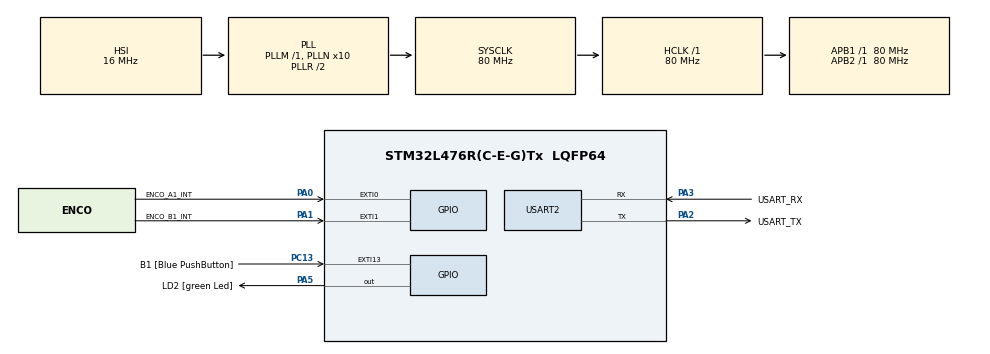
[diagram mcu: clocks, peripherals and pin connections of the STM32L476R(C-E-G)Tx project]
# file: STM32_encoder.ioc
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Mcu.Family=STM32L4
Mcu.Name=STM32L476R(C-E-G)Tx
Mcu.Package=LQFP64
NVIC.EXTI0_IRQn=true\:0\:0\:false\:false\:true\:true\:true\:true
NVIC.EXTI1_IRQn=true\:1\:0\:true\:false\:true\:true\:true\:true
NVIC.PriorityGroup=NVIC_PRIORITYGROUP_4
PA0.GPIO_Label=ENCO_A1_INT
PA0.GPIO_ModeDefaultEXTI=GPIO_MODE_IT_RISING_FALLING
PA0.Signal=GPXTI0
PA1.GPIO_Label=ENCO_B1_INT
PA1.GPIO_ModeDefaultEXTI=GPIO_MODE_IT_RISING_FALLING
PA1.Signal=GPXTI1
PA13\ (JTMS-SWDIO).GPIO_Label=TMS
PA13\ (JTMS-SWDIO).Mode=Serial_Wire
PA13\ (JTMS-SWDIO).Signal=SYS_JTMS-SWDIO
PA14\ (JTCK-SWCLK).GPIO_Label=TCK
PA14\ (JTCK-SWCLK).Mode=Serial_Wire
PA14\ (JTCK-SWCLK).Signal=SYS_JTCK-SWCLK
PA2.GPIO_Label=USART_TX
PA2.GPIO_Mode=GPIO_MODE_AF_PP
PA2.GPIO_PuPd=GPIO_NOPULL
PA2.GPIO_Speed=GPIO_SPEED_FREQ_VERY_HIGH
PA2.Mode=Asynchronous
PA2.Signal=USART2_TX
PA3.GPIO_Label=USART_RX
PA3.GPIO_Mode=GPIO_MODE_AF_PP
PA3.GPIO_PuPd=GPIO_NOPULL
PA3.GPIO_Speed=GPIO_SPEED_FREQ_VERY_HIGH
PA3.Mode=Asynchronous
PA3.Signal=USART2_RX
PA5.GPIO_Label=LD2 [green Led]
PA5.GPIO_ModeDefaultOutputPP=GPIO_MODE_OUTPUT_PP
PA5.GPIO_PuPd=GPIO_NOPULL
PA5.GPIO_Speed=GPIO_SPEED_FREQ_LOW
PA5.Signal=GPIO_Output
PB3\ (JTDO-TRACESWO).GPIO_Label=SWO
PB3\ (JTDO-TRACESWO).Signal=SYS_JTDO-SWO
PC13.GPIO_Label=B1 [Blue PushButton]
PC13.GPIO_ModeDefaultEXTI=GPIO_MODE_IT_FALLING
PC13.GPIO_PuPd=GPIO_NOPULL
PC13.Signal=GPXTI13
PC14-OSC32_IN\ (PC14).Mode=LSE-External-Oscillator
PC14-OSC32_IN\ (PC14).Signal=RCC_OSC32_IN
PC15-OSC32_OUT\ (PC15).Mode=LSE-External-Oscillator
PC15-OSC32_OUT\ (PC15).Signal=RCC_OSC32_OUT
PH0-OSC_IN\ (PH0).Signal=RCC_OSC_IN
PH1-OSC_OUT\ (PH1).Signal=RCC_OSC_OUT
ProjectManager.HeapSize=0x200
ProjectManager.StackSize=0x400
ProjectManager.TargetToolchain=STM32CubeIDE
RCC.ADCFreq_Value=64000000
RCC.AHBFreq_Value=80000000
RCC.APB1Freq_Value=80000000
RCC.APB1TimFreq_Value=80000000
RCC.APB2Freq_Value=80000000
RCC.APB2TimFreq_Value=80000000
RCC.CortexFreq_Value=80000000
RCC.HCLKFreq_Value=80000000
RCC.HSE_VALUE=8000000
RCC.HSI_VALUE=16000000
RCC.MSI_VALUE=4000000
RCC.PLLN=10
RCC.PLLSourceVirtual=RCC_PLLSOURCE_HSI
RCC.PREFETCH_ENABLE=1
RCC.SYSCLKFreq_VALUE=80000000
RCC.SYSCLKSource=RCC_SYSCLKSOURCE_PLLCLK
RCC.USBFreq_Value=64000000
RCC.VCOOutputFreq_Value=160000000
USART2.VirtualMode-Asynchronous=VM_ASYNC
board=NUCLEO-L476RG

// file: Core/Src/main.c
/* USER CODE BEGIN Header */
/**
  ******************************************************************************
  * @file           : main.c
  * @brief          : Main program body
  ******************************************************************************
  * @attention
  *
  * Copyright (c) 2024 STMicroelectronics.
  * All rights reserved.
  *
  * This software is licensed under terms that can be found in the LICENSE file
  * in the root directory of this software component.
  * If no LICENSE file comes with this software, it is provided AS-IS.
  *
  ******************************************************************************
  */
/* USER CODE END Header */
#include "main.h"
#include "usart.h"
#include "gpio.h"

/* USER CODE BEGIN Includes */
#include <stdio.h>
#include <string.h>
/* USER CODE END Includes */

/* USER CODE BEGIN PV */
	char msg[64];

	uint8_t enco_A1_state = 0;
	uint8_t enco_B1_state = 0;

	uint8_t enco_A1_state_old = 0;
	uint8_t enco_B1_state_old = 0;
/* USER CODE END PV */

void SystemClock_Config(void);

int main(void)
{

  /* MCU Configuration--------------------------------------------------------*/

  /* Reset of all peripherals, Initializes the Flash interface and the Systick. */
  HAL_Init();

  /* Configure the system clock */
  SystemClock_Config();

  /* Initialize all configured peripherals */
  MX_GPIO_Init();
  MX_USART2_UART_Init();

  /* Infinite loop */
  /* USER CODE BEGIN WHILE */
  while (1)
  {

		//HAL_Delay(50);

    /* USER CODE END WHILE */

  }
}

void SystemClock_Config(void)
{
  RCC_OscInitTypeDef RCC_OscInitStruct = {0};
  RCC_ClkInitTypeDef RCC_ClkInitStruct = {0};

  /** Configure the main internal regulator output voltage
  */
  if (HAL_PWREx_ControlVoltageScaling(PWR_REGULATOR_VOLTAGE_SCALE1) != HAL_OK)
  {
    Error_Handler();
  }

  /** Initializes the RCC Oscillators according to the specified parameters
  * in the RCC_OscInitTypeDef structure.
  */
  RCC_OscInitStruct.OscillatorType = RCC_OSCILLATORTYPE_HSI;
  RCC_OscInitStruct.HSIState = RCC_HSI_ON;
  RCC_OscInitStruct.HSICalibrationValue = RCC_HSICALIBRATION_DEFAULT;
  RCC_OscInitStruct.PLL.PLLState = RCC_PLL_ON;
  RCC_OscInitStruct.PLL.PLLSource = RCC_PLLSOURCE_HSI;
  RCC_OscInitStruct.PLL.PLLM = 1;
  RCC_OscInitStruct.PLL.PLLN = 10;
  RCC_OscInitStruct.PLL.PLLP = RCC_PLLP_DIV7;
  RCC_OscInitStruct.PLL.PLLQ = RCC_PLLQ_DIV2;
  RCC_OscInitStruct.PLL.PLLR = RCC_PLLR_DIV2;
  if (HAL_RCC_OscConfig(&RCC_OscInitStruct) != HAL_OK)
  {
    Error_Handler();
  }

  /** Initializes the CPU, AHB and APB buses clocks
  */
  RCC_ClkInitStruct.ClockType = RCC_CLOCKTYPE_HCLK|RCC_CLOCKTYPE_SYSCLK
                              |RCC_CLOCKTYPE_PCLK1|RCC_CLOCKTYPE_PCLK2;
  RCC_ClkInitStruct.SYSCLKSource = RCC_SYSCLKSOURCE_PLLCLK;
  RCC_ClkInitStruct.AHBCLKDivider = RCC_SYSCLK_DIV1;
  RCC_ClkInitStruct.APB1CLKDivider = RCC_HCLK_DIV1;
  RCC_ClkInitStruct.APB2CLKDivider = RCC_HCLK_DIV1;

  if (HAL_RCC_ClockConfig(&RCC_ClkInitStruct, FLASH_LATENCY_4) != HAL_OK)
  {
    Error_Handler();
  }
}

/* USER CODE BEGIN 4 */
void HAL_GPIO_EXT0_Callback(uint16_t GPIO_Pin)
{
	if(HAL_GPIO_ReadPin(ENCO_A1_INT_GPIO_Port, ENCO_A1_INT_Pin) == GPIO_PIN_RESET)
	{
	  HAL_GPIO_WritePin(LD2_GPIO_Port, LD2_Pin, GPIO_PIN_SET);
	  enco_A1_state = 0;
	}
	else if(HAL_GPIO_ReadPin(ENCO_A1_INT_GPIO_Port, ENCO_A1_INT_Pin) == GPIO_PIN_SET)
	{
	  HAL_GPIO_WritePin(LD2_GPIO_Port, LD2_Pin, GPIO_PIN_RESET);
	  enco_A1_state = 1;
	}

	  if( (enco_A1_state != enco_A1_state_old) )
	  {
			sprintf((char*)msg, "A1: %d B1: %d\n\r", enco_A1_state, enco_B1_state);
			HAL_UART_Transmit(&huart2, (uint8_t*)msg, strlen(msg), 1000);
	  }

	enco_A1_state_old = enco_A1_state;
}

void HAL_GPIO_EXTI_Callback(uint16_t GPIO_Pin)
{
	//	Checking the source of interrupt:
	if(GPIO_Pin == ENCO_A1_INT_Pin)
	{
		if(HAL_GPIO_ReadPin(ENCO_A1_INT_GPIO_Port, ENCO_A1_INT_Pin) == GPIO_PIN_RESET)
		{
		  //HAL_GPIO_WritePin(LD2_GPIO_Port, LD2_Pin, GPIO_PIN_SET);
		  enco_A1_state = 0;
		}
		else if(HAL_GPIO_ReadPin(ENCO_A1_INT_GPIO_Port, ENCO_A1_INT_Pin) == GPIO_PIN_SET)
		{
		  //HAL_GPIO_WritePin(LD2_GPIO_Port, LD2_Pin, GPIO_PIN_RESET);
		  enco_A1_state = 1;
		}
	}

	//	Checking the source of interrupt:
	if(GPIO_Pin == ENCO_B1_INT_Pin)
	{
		if(HAL_GPIO_ReadPin(ENCO_B1_INT_GPIO_Port, ENCO_B1_INT_Pin) == GPIO_PIN_RESET)
		{
		  //HAL_GPIO_WritePin(LD2_GPIO_Port, LD2_Pin, GPIO_PIN_SET);
		  enco_B1_state = 0;
		}
		else if(HAL_GPIO_ReadPin(ENCO_B1_INT_GPIO_Port, ENCO_B1_INT_Pin) == GPIO_PIN_SET)
		{
		  //HAL_GPIO_WritePin(LD2_GPIO_Port, LD2_Pin, GPIO_PIN_RESET);
		  enco_B1_state = 1;
		}
	}

	//	If state get changed we have to make a info:
	if( (enco_A1_state != enco_A1_state_old) || (enco_B1_state != enco_B1_state_old) )
	{
		sprintf((char*)msg, "A1: %d B1: %d\n\r", enco_A1_state, enco_B1_state);
		HAL_UART_Transmit(&huart2, (uint8_t*)msg, strlen(msg), 1000);
	}

	//	Old value of state get new value:
	enco_A1_state_old = enco_A1_state;
	enco_B1_state_old = enco_B1_state;
}

/* USER CODE END 4 */

void Error_Handler(void)
{
  __disable_irq();
  while (1)
  {
  }
}
